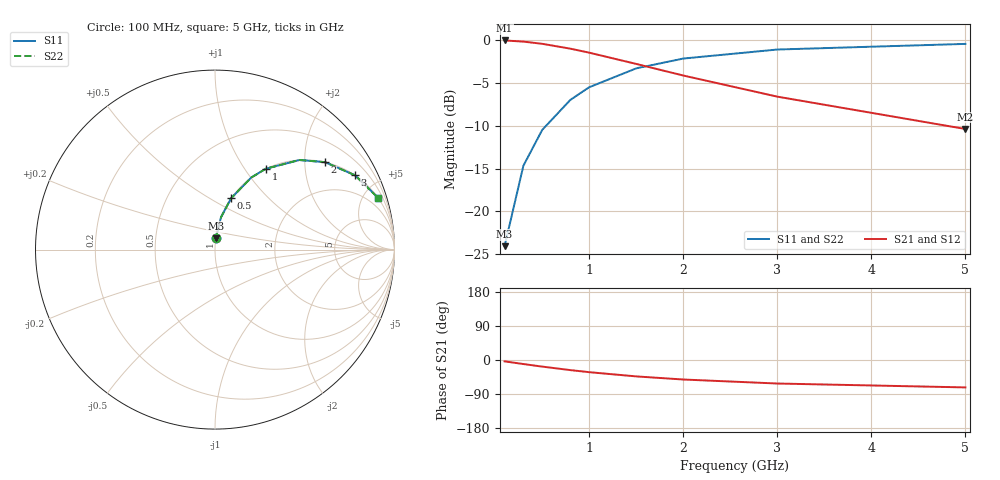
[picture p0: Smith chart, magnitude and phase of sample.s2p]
! Sample 2-port: a 10 nH series inductor in a 50 ohm system.
! Synthetic data for the JGraph RF example (rf-match.jgs).
# GHz S RI R 50
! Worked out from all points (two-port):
!   9 points, 100 MHz to 5 GHz, reference 50 ohm
!   highest |S21| = -0.02 dB at 100 MHz (marker M1); lowest = -10.4 dB at 5 GHz (marker M2)
!   |S21| within 3 dB of the highest: start of sweep to 1.595 GHz
!   lowest |S11| = -24.1 dB at 100 MHz (marker M3), VSWR 1.13, Z = 50 + j6.28 ohm
!   |S11| at or under -10 dB: start of sweep to 539.8 MHz
!   |S22| runs from -24.1 to -0.4 dB; largest |S21 - S12| = 0
!   S11 on the Smith chart (normalised r, x): 100 MHz: 1.00, +0.13; 500 MHz: 1.00, +0.63; 1 GHz: 1.00, +1.26; 2 GHz: 1.00, +2.51; 3 GHz: 1.00, +3.77; 5 GHz: 1.00, +6.28
0.1  0.00393 0.0626  0.9961 -0.0626  0.9961 -0.0626  0.00393 0.0626
0.3  0.0343 0.182  0.9657 -0.182  0.9657 -0.182  0.0343 0.182
0.5  0.0898 0.2859  0.9102 -0.2859  0.9102 -0.2859  0.0898 0.2859
0.8  0.2017 0.4013  0.7983 -0.4013  0.7983 -0.4013  0.2017 0.4013
1  0.283 0.4505  0.717 -0.4505  0.717 -0.4505  0.283 0.4505
1.5  0.4704 0.4991  0.5296 -0.4991  0.5296 -0.4991  0.4704 0.4991
2  0.6123 0.4872  0.3877 -0.4872  0.3877 -0.4872  0.6123 0.4872
3  0.7804 0.414  0.2196 -0.414  0.2196 -0.414  0.7804 0.414
5  0.908 0.289  0.092 -0.289  0.092 -0.289  0.908 0.289
